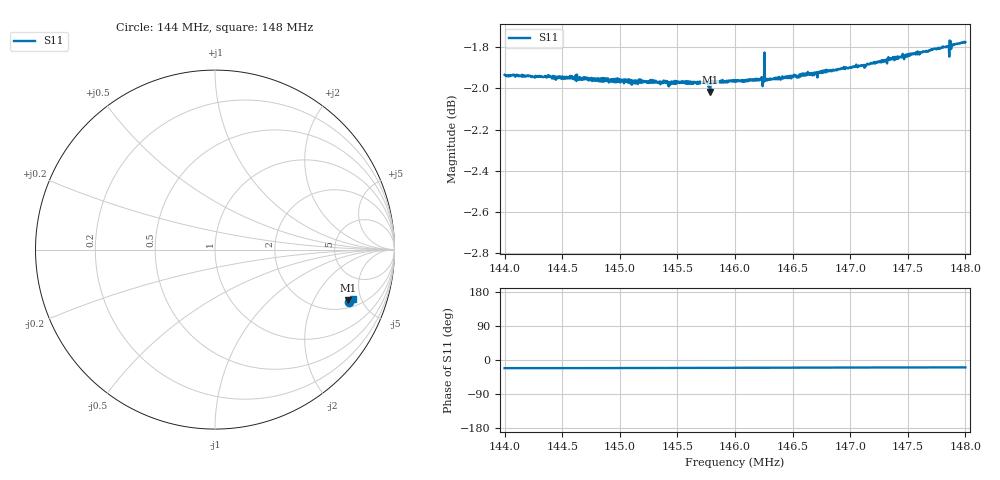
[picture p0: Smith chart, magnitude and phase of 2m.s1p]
! Calibrated averaged scanner-service zoom
# Hz S RI R 50
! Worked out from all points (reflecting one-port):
!   1001 points, 144 MHz to 148 MHz, reference 50 ohm
!   lowest |S11| = -2.0 dB at 145.78 MHz (marker M1), VSWR 8.65, Z = 127 - j192 ohm
!   phase of S11 starts at -22 deg and turns +2 deg over the sweep
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1.44e8  0.7447 -0.2934
1.445e8  0.7446 -0.2916
1.4462e8  0.7443 -0.2914
1.4466e8  0.7433 -0.2911
1.44704e8  0.7444 -0.2911
1.44776e8  0.743 -0.2905
1.45e8  0.7437 -0.2887
1.4544e8  0.744 -0.2853
1.455e8  0.7442 -0.2849
1.45728e8  0.7454 -0.2829
1.45784e8  0.7409 -0.2821
1.45812e8  0.7458 -0.2824
1.46e8  0.7464 -0.2805
1.46204e8  0.7482 -0.2791
1.46228e8  0.748 -0.2786
1.46232e8  0.7472 -0.2841
1.46236e8  0.7484 -0.2773
1.46272e8  0.7484 -0.2786
1.46276e8  0.7485 -0.2782
1.4628e8  0.7478 -0.2783
1.465e8  0.7506 -0.2764
1.47e8  0.7557 -0.2735
1.473e8  0.7591 -0.2719
1.475e8  0.7616 -0.2717
1.47748e8  0.7648 -0.2725
1.4784e8  0.7663 -0.2719
1.47884e8  0.7672 -0.2722
1.48e8  0.7683 -0.2725
